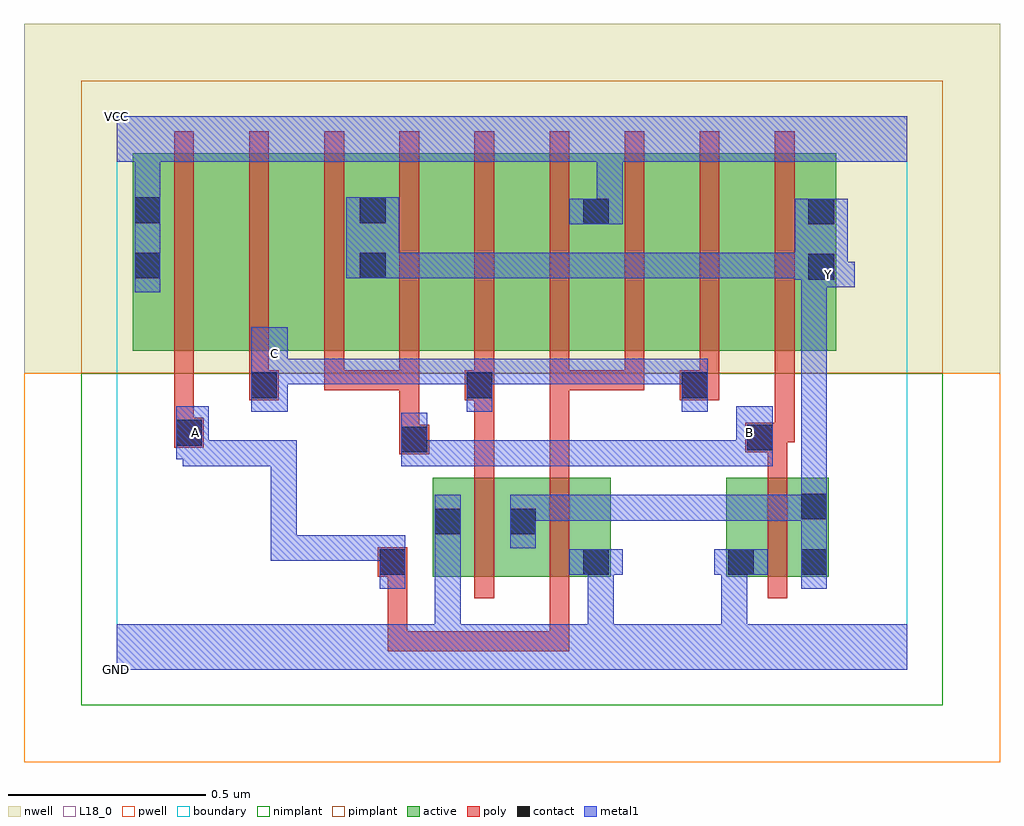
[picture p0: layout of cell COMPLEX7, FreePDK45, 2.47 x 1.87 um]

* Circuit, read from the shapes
.subckt COMPLEX7 A B C GND VCC Y
M1 Y C GND VSUBS nfet w=0.25u l=0.05u
M2 GND A Y VSUBS nfet w=0.25u l=0.05u
M3 Y B GND VSUBS nfet w=0.25u l=0.05u
M4 n1 A VCC n2 pfet w=0.5u l=0.05u
M5 n3 C n1 n2 pfet w=0.5u l=0.05u
M6 Y B n3 n2 pfet w=0.5u l=0.05u
M7 n4 B Y n2 pfet w=0.5u l=0.05u
M8 n5 C n4 n2 pfet w=0.5u l=0.05u
M9 VCC A n5 n2 pfet w=0.5u l=0.05u
M10 n6 A VCC n2 pfet w=0.5u l=0.05u
M11 n7 C n6 n2 pfet w=0.5u l=0.05u
M12 Y B n7 n2 pfet w=0.5u l=0.05u
.ends

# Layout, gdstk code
import gdstk
lib = gdstk.Library(unit=1e-6, precision=1e-09)
def R(c, l, rs):  # rectangles x0, y0, x1, y1
    for r in rs: c.add(gdstk.rectangle(r[:2], r[2:], *l))
def A(c, l, x, y, w, h, nx, ny, dx, dy):  # array of equal rectangles
    R(c, l, [(x+i*dx, y+j*dy, x+i*dx+w, y+j*dy+h) for i in range(nx) for j in range(ny)])
active = (1, 0)
pwell = (2, 0)
nwell = (3, 0)
nimplant = (4, 0)
pimplant = (5, 0)
poly = (9, 0)
contact = (10, 0)
metal1 = (11, 0)
L18_0 = (18, 0)
boundary = (235, 0)

complex7 = lib.new_cell('COMPLEX7')
A(complex7, active, 0.265, 0.807, 0.19, 0.5, 3, 1, 0.57, 0)
R(complex7, active, [(0.8,0.235,1.065,0.485), (0.99,0.235,1.065,0.485), (0.99,0.235,1.25,0.485), (1.175,0.235,1.25,0.485), (1.542,0.235,1.802,0.485), (1.542,0.235,1.617,0.382), (1.727,0.235,1.802,0.485), (0.8,0.337,0.875,0.485), (0.04,0.807,0.265,1.307), (0.04,0.807,0.115,1.305), (0.455,0.807,0.685,1.307), (0.61,0.807,0.685,1.2), (0.61,0.807,0.835,1.307), (1.025,0.807,1.25,1.307), (1.175,0.807,1.405,1.307), (1.175,0.807,1.25,1.305), (1.595,0.807,1.82,1.307), (1.745,0.807,1.82,1.2)])
R(complex7, pwell, [(-0.235,-0.235,2.235,0.75)])
R(complex7, nwell, [(-0.235,0.75,2.235,1.635)])
R(complex7, nimplant, [(-0.09,-0.09,2.09,0.75)])
R(complex7, pimplant, [(-0.09,0.75,2.09,1.49)])
A(complex7, poly, 0.335, 0.707, 0.05, 0.095, 7, 1, 0.19, 0)
A(complex7, poly, 0.145, 0.752, 0.05, 0.61, 9, 1, 0.19, 0)
R(complex7, poly, [(0.685,0.047,0.735,0.097), (0.685,0.047,1.012,0.097), (0.685,0.047,0.735,0.285), (0.962,0.047,1.012,0.097), (0.962,0.047,1.012,0.097), (0.962,0.047,1.012,0.097), (0.962,0.047,1.145,0.097), (1.095,0.047,1.145,0.097), (1.095,0.047,1.145,0.097), (1.095,0.047,1.145,0.097), (1.095,0.047,1.145,0.23), (0.905,0.18,0.955,0.54), (1.095,0.18,1.145,0.54), (1.647,0.18,1.697,0.54), (0.66,0.235,0.735,0.31), (0.905,0.49,0.955,0.732), (1.095,0.49,1.145,0.757), (1.647,0.49,1.697,0.6), (0.715,0.545,0.79,0.62), (1.59,0.55,1.697,0.625), (0.145,0.562,0.22,0.637), (0.715,0.57,0.765,0.757), (1.647,0.575,1.697,0.625), (1.647,0.575,1.715,0.625), (1.665,0.575,1.715,0.802), (0.145,0.587,0.195,0.637), (0.145,0.587,0.195,0.637), (0.145,0.587,0.195,0.802), (0.335,0.682,0.41,0.757), (0.88,0.682,0.955,0.757), (0.905,0.682,0.955,0.732), (0.905,0.682,0.955,0.732), (1.425,0.682,1.525,0.757), (0.525,0.707,0.575,0.757), (0.525,0.707,0.765,0.757), (0.715,0.707,0.765,0.757), (0.715,0.707,0.765,0.757), (0.715,0.707,0.765,0.757), (1.095,0.707,1.145,0.757), (1.095,0.707,1.145,0.757), (1.095,0.707,1.145,0.757), (1.095,0.707,1.335,0.757), (1.285,0.707,1.335,0.757), (1.285,0.707,1.335,0.757), (1.285,0.707,1.335,0.757)])
A(complex7, contact, 0.34, 0.687, 0.065, 0.065, 3, 1, 0.545, 0)
R(complex7, contact, [(0.665,0.24,0.73,0.305), (1.18,0.24,1.245,0.305), (1.547,0.24,1.612,0.305), (1.732,0.24,1.797,0.305), (0.805,0.342,0.87,0.407), (0.995,0.342,1.06,0.407), (1.732,0.38,1.797,0.445), (0.72,0.55,0.785,0.615), (1.595,0.555,1.66,0.62), (0.15,0.567,0.215,0.632), (1.75,0.987,1.815,1.052), (0.045,0.99,0.11,1.055), (0.615,0.99,0.68,1.055), (1.18,1.127,1.245,1.192), (1.75,1.127,1.815,1.192), (0.045,1.13,0.11,1.195), (0.615,1.13,0.68,1.195)])
R(complex7, metal1, [(0,0,2,0.115), (0.805,0.05,0.87,0.115), (0.805,0.05,0.87,0.115), (0.805,0.05,0.87,0.115), (0.805,0.05,0.87,0.115), (0.805,0.05,0.87,0.372), (1.192,0.05,1.257,0.305), (1.53,0.05,1.595,0.305), (0.665,0.205,0.73,0.34), (1.732,0.205,1.797,0.48), (1.145,0.24,1.28,0.305), (1.192,0.24,1.257,0.305), (1.192,0.24,1.257,0.305), (1.192,0.24,1.257,0.305), (1.192,0.24,1.257,0.305), (1.512,0.24,1.647,0.305), (1.53,0.24,1.595,0.305), (1.53,0.24,1.595,0.305), (1.53,0.24,1.595,0.305), (1.53,0.24,1.595,0.305), (0.39,0.275,0.455,0.34), (0.39,0.275,0.592,0.34), (0.39,0.275,0.455,0.58), (0.527,0.275,0.592,0.34), (0.527,0.275,0.73,0.34), (0.665,0.275,0.73,0.34), (0.665,0.275,0.73,0.34), (0.665,0.275,0.73,0.34), (0.665,0.275,0.73,0.34), (0.805,0.307,0.87,0.442), (0.995,0.307,1.06,0.442), (0.995,0.377,1.142,0.442), (1.077,0.377,1.142,0.442), (1.077,0.377,1.197,0.442), (1.132,0.377,1.197,0.442), (1.132,0.377,1.357,0.442), (1.292,0.377,1.357,0.442), (1.292,0.377,1.357,0.442), (1.292,0.377,1.357,0.442), (1.292,0.377,1.495,0.442), (1.43,0.377,1.495,0.442), (1.43,0.377,1.495,0.442), (1.43,0.377,1.495,0.442), (1.43,0.377,1.797,0.442), (1.732,0.377,1.797,0.442), (1.732,0.377,1.797,0.442), (1.732,0.415,1.797,1.032), (0.167,0.515,0.455,0.58), (0.167,0.515,0.232,0.597), (0.39,0.515,0.455,0.58), (0.39,0.515,0.455,0.58), (0.39,0.515,0.455,0.58), (0.72,0.515,0.785,0.65), (0.72,0.515,0.867,0.58), (0.802,0.515,0.867,0.58), (0.802,0.515,1.005,0.58), (0.94,0.515,1.005,0.58), (0.94,0.515,1.005,0.58), (0.94,0.515,1.005,0.58), (0.94,0.515,1.197,0.58), (1.132,0.515,1.197,0.58), (1.132,0.515,1.197,0.58), (1.132,0.515,1.197,0.58), (1.132,0.515,1.357,0.58), (1.292,0.515,1.357,0.58), (1.292,0.515,1.357,0.58), (1.292,0.515,1.357,0.58), (1.292,0.515,1.495,0.58), (1.43,0.515,1.495,0.58), (1.43,0.515,1.495,0.58), (1.43,0.515,1.495,0.58), (1.43,0.515,1.632,0.58), (1.567,0.515,1.66,0.667), (0.15,0.532,0.232,0.667), (0.167,0.532,0.232,0.597), (0.34,0.652,0.432,0.867), (0.885,0.652,0.95,0.787), (1.43,0.652,1.495,0.787), (0.367,0.722,0.432,0.787), (0.367,0.722,0.432,0.787), (0.367,0.722,0.592,0.787), (0.527,0.722,0.592,0.787), (0.527,0.722,0.73,0.787), (0.665,0.722,0.73,0.787), (0.665,0.722,0.73,0.787), (0.665,0.722,0.73,0.787), (0.665,0.722,0.867,0.787), (0.802,0.722,0.867,0.787), (0.802,0.722,0.95,0.787), (0.885,0.722,1.06,0.787), (0.995,0.722,1.06,0.787), (0.995,0.722,1.22,0.787), (1.155,0.722,1.22,0.787), (1.155,0.722,1.22,0.787), (1.155,0.722,1.22,0.787), (1.155,0.722,1.357,0.787), (1.292,0.722,1.357,0.787), (1.292,0.722,1.357,0.787), (1.292,0.722,1.357,0.787), (1.292,0.722,1.495,0.787), (0.045,0.955,0.11,1.23), (1.732,0.967,1.797,1.052), (1.732,0.967,1.797,1.032), (1.732,0.967,1.797,1.032), (1.732,0.967,1.867,1.032), (1.715,0.987,1.85,1.192), (0.58,0.99,0.715,1.195), (0.65,0.99,0.812,1.055), (0.747,0.99,0.812,1.055), (0.747,0.99,0.867,1.055), (0.802,0.99,0.867,1.055), (0.802,0.99,1.005,1.055), (0.94,0.99,1.005,1.055), (0.94,0.99,1.005,1.055), (0.94,0.99,1.005,1.055), (0.94,0.99,1.22,1.055), (1.155,0.99,1.22,1.055), (1.155,0.99,1.22,1.055), (1.155,0.99,1.22,1.055), (1.155,0.99,1.357,1.055), (1.292,0.99,1.357,1.055), (1.292,0.99,1.357,1.055), (1.292,0.99,1.357,1.055), (1.292,0.99,1.495,1.055), (1.43,0.99,1.495,1.055), (1.43,0.99,1.495,1.055), (1.43,0.99,1.495,1.055), (1.43,0.99,1.78,1.055), (1.715,0.99,1.78,1.055), (1.715,0.99,1.78,1.055), (1.145,1.127,1.28,1.192), (1.215,1.127,1.28,1.35), (0.045,1.165,0.11,1.35), (0,1.285,2,1.4)])
R(complex7, L18_0, [(0,0,2,0.115), (0.805,0.05,0.87,0.115), (0.805,0.05,0.87,0.115), (0.805,0.05,0.87,0.115), (0.805,0.05,0.87,0.115), (0.805,0.05,0.87,0.372), (1.192,0.05,1.257,0.305), (1.53,0.05,1.595,0.305), (0.665,0.205,0.73,0.34), (1.732,0.205,1.797,0.48), (1.145,0.24,1.28,0.305), (1.192,0.24,1.257,0.305), (1.192,0.24,1.257,0.305), (1.192,0.24,1.257,0.305), (1.192,0.24,1.257,0.305), (1.512,0.24,1.647,0.305), (1.53,0.24,1.595,0.305), (1.53,0.24,1.595,0.305), (1.53,0.24,1.595,0.305), (1.53,0.24,1.595,0.305), (0.39,0.275,0.455,0.34), (0.39,0.275,0.455,0.58), (0.39,0.275,0.592,0.34), (0.527,0.275,0.592,0.34), (0.527,0.275,0.73,0.34), (0.665,0.275,0.73,0.34), (0.665,0.275,0.73,0.34), (0.665,0.275,0.73,0.34), (0.665,0.275,0.73,0.34), (0.805,0.307,0.87,0.442), (0.995,0.307,1.06,0.442), (0.995,0.377,1.142,0.442), (1.077,0.377,1.142,0.442), (1.077,0.377,1.197,0.442), (1.132,0.377,1.197,0.442), (1.132,0.377,1.357,0.442), (1.292,0.377,1.357,0.442), (1.292,0.377,1.357,0.442), (1.292,0.377,1.357,0.442), (1.292,0.377,1.495,0.442), (1.43,0.377,1.495,0.442), (1.43,0.377,1.495,0.442), (1.43,0.377,1.495,0.442), (1.43,0.377,1.797,0.442), (1.732,0.377,1.797,0.442), (1.732,0.377,1.797,0.442), (1.732,0.415,1.797,1.032), (0.167,0.515,0.232,0.597), (0.167,0.515,0.455,0.58), (0.39,0.515,0.455,0.58), (0.39,0.515,0.455,0.58), (0.39,0.515,0.455,0.58), (0.72,0.515,0.785,0.65), (0.72,0.515,0.867,0.58), (0.802,0.515,0.867,0.58), (0.802,0.515,1.005,0.58), (0.94,0.515,1.005,0.58), (0.94,0.515,1.005,0.58), (0.94,0.515,1.005,0.58), (0.94,0.515,1.197,0.58), (1.132,0.515,1.197,0.58), (1.132,0.515,1.197,0.58), (1.132,0.515,1.197,0.58), (1.132,0.515,1.357,0.58), (1.292,0.515,1.357,0.58), (1.292,0.515,1.357,0.58), (1.292,0.515,1.357,0.58), (1.292,0.515,1.495,0.58), (1.43,0.515,1.495,0.58), (1.43,0.515,1.495,0.58), (1.43,0.515,1.495,0.58), (1.43,0.515,1.632,0.58), (1.567,0.515,1.66,0.667), (0.15,0.532,0.232,0.667), (0.167,0.532,0.232,0.597), (0.167,0.567,0.232,0.632), (1.567,0.567,1.632,0.632), (0.34,0.652,0.432,0.867), (0.885,0.652,0.95,0.787), (1.43,0.652,1.495,0.787), (0.367,0.722,0.432,0.787), (0.367,0.722,0.432,0.787), (0.367,0.722,0.592,0.787), (0.527,0.722,0.592,0.787), (0.527,0.722,0.73,0.787), (0.665,0.722,0.73,0.787), (0.665,0.722,0.73,0.787), (0.665,0.722,0.73,0.787), (0.665,0.722,0.867,0.787), (0.802,0.722,0.867,0.787), (0.802,0.722,0.95,0.787), (0.885,0.722,1.06,0.787), (0.995,0.722,1.06,0.787), (0.995,0.722,1.22,0.787), (1.155,0.722,1.22,0.787), (1.155,0.722,1.22,0.787), (1.155,0.722,1.22,0.787), (1.155,0.722,1.357,0.787), (1.292,0.722,1.357,0.787), (1.292,0.722,1.357,0.787), (1.292,0.722,1.357,0.787), (1.292,0.722,1.495,0.787), (0.367,0.767,0.432,0.832), (0.045,0.955,0.11,1.23), (1.732,0.967,1.797,1.032), (1.732,0.967,1.797,1.032), (1.732,0.967,1.867,1.032), (1.732,0.967,1.797,1.052), (1.767,0.967,1.832,1.032), (1.715,0.987,1.85,1.192), (0.58,0.99,0.715,1.195), (0.65,0.99,0.812,1.055), (0.747,0.99,0.812,1.055), (0.747,0.99,0.867,1.055), (0.802,0.99,0.867,1.055), (0.802,0.99,1.005,1.055), (0.94,0.99,1.005,1.055), (0.94,0.99,1.005,1.055), (0.94,0.99,1.005,1.055), (0.94,0.99,1.22,1.055), (1.155,0.99,1.22,1.055), (1.155,0.99,1.22,1.055), (1.155,0.99,1.22,1.055), (1.155,0.99,1.357,1.055), (1.292,0.99,1.357,1.055), (1.292,0.99,1.357,1.055), (1.292,0.99,1.357,1.055), (1.292,0.99,1.495,1.055), (1.43,0.99,1.495,1.055), (1.43,0.99,1.495,1.055), (1.43,0.99,1.495,1.055), (1.43,0.99,1.78,1.055), (1.715,0.99,1.78,1.055), (1.715,0.99,1.78,1.055), (1.145,1.127,1.28,1.192), (1.215,1.127,1.28,1.35), (0.045,1.165,0.11,1.35), (0,1.285,2,1.4)])
R(complex7, boundary, [(0,0,2,1.4)])
complex7.add(gdstk.Label('A', (0.2,0.6), layer=11, texttype=0))
complex7.add(gdstk.Label('B', (1.6,0.6), layer=11, texttype=0))
complex7.add(gdstk.Label('C', (0.4,0.8), layer=11, texttype=0))
complex7.add(gdstk.Label('Y', (1.8,1), layer=11, texttype=0))
complex7.add(gdstk.Label('VCC', (0,1.4), layer=11, texttype=0))
complex7.add(gdstk.Label('GND', (0,0), layer=11, texttype=0))

lib.write_gds('COMPLEX7.gds')
